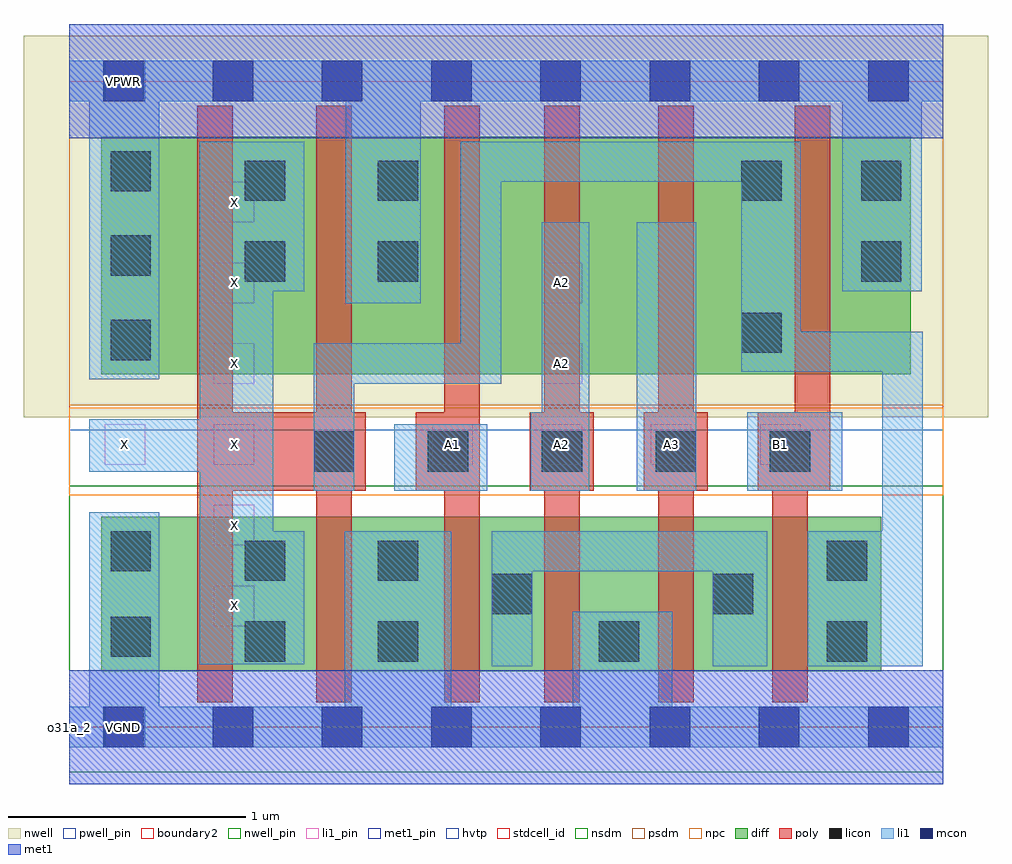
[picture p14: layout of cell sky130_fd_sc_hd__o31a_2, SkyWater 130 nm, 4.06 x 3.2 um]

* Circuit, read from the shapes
.subckt sky130_fd_sc_hd__o31a_2 A1 A2 A3 B1 VGND VNB VPB VPWR X
XM1 X n1 VGND VNB sky130_fd_pr__nfet_01v8 w=0.65 l=0.15 m=2
XM2 n2 A1 VGND VNB sky130_fd_pr__nfet_01v8 w=0.65 l=0.15
XM3 VGND A2 n2 VNB sky130_fd_pr__nfet_01v8 w=0.65 l=0.15
XM4 n2 A3 VGND VNB sky130_fd_pr__nfet_01v8 w=0.65 l=0.15
XM5 n1 B1 n2 VNB sky130_fd_pr__nfet_01v8 w=0.65 l=0.15
XM6 X n1 VPWR VPB sky130_fd_pr__pfet_01v8_hvt w=1 l=0.15 m=2
XM7 n3 A1 VPWR VPB sky130_fd_pr__pfet_01v8_hvt w=1 l=0.15
XM8 n4 A2 n3 VPB sky130_fd_pr__pfet_01v8_hvt w=1 l=0.15
XM9 n1 A3 n4 VPB sky130_fd_pr__pfet_01v8_hvt w=1 l=0.15
XM10 VPWR B1 n1 VPB sky130_fd_pr__pfet_01v8_hvt w=1 l=0.15
.ends

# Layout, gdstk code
import gdstk
lib = gdstk.Library(unit=1e-6, precision=1e-09)
def R(c, l, rs):  # rectangles x0, y0, x1, y1
    for r in rs: c.add(gdstk.rectangle(r[:2], r[2:], *l))
def A(c, l, x, y, w, h, nx, ny, dx, dy):  # array of equal rectangles
    R(c, l, [(x+i*dx, y+j*dy, x+i*dx+w, y+j*dy+h) for i in range(nx) for j in range(ny)])
def P(c, l, *ps):  # polygons
    for p in ps: c.add(gdstk.Polygon(p, *l))
nwell_pin = (64, 16)
nwell = (64, 20)
diff = (65, 20)
poly = (66, 20)
licon = (66, 44)
li1_pin = (67, 16)
li1 = (67, 20)
mcon = (67, 44)
met1_pin = (68, 16)
met1 = (68, 20)
hvtp = (78, 44)
stdcell_id = (81, 4)
nsdm = (93, 44)
psdm = (94, 20)
npc = (95, 20)
pwell_pin = (122, 16)
boundary2 = (236, 0)

sky130_fd_sc_hd__o31a_2 = lib.new_cell('sky130_fd_sc_hd__o31a_2')
R(sky130_fd_sc_hd__o31a_2, nwell_pin, [(0.15,2.635,0.32,2.805)])
R(sky130_fd_sc_hd__o31a_2, nwell, [(-0.19,1.305,3.87,2.91)])
R(sky130_fd_sc_hd__o31a_2, diff, [(0.135,0.235,3.42,0.885), (0.135,1.485,3.545,2.485)])
P(sky130_fd_sc_hd__o31a_2, poly, [(1.25,1.325),(1.19,1.325),(1.19,2.615),(1.04,2.615),(1.04,1.325),(0.69,1.325),(0.69,2.615),(0.54,2.615),(0.54,0.105),(0.69,0.105),(0.69,0.995),(1.04,0.995),(1.04,0.105),(1.19,0.105),(1.19,0.995),(1.25,0.995)],
  [(1.73,2.615),(1.58,2.615),(1.58,1.325),(1.46,1.325),(1.46,0.995),(1.58,0.995),(1.58,0.105),(1.73,0.105)],
  [(2.21,1.325),(2.15,1.325),(2.15,2.615),(2,2.615),(2,1.325),(1.94,1.325),(1.94,0.995),(2,0.995),(2,0.105),(2.15,0.105),(2.15,0.995),(2.21,0.995)],
  [(2.69,1.325),(2.63,1.325),(2.63,2.615),(2.48,2.615),(2.48,1.325),(2.42,1.325),(2.42,0.995),(2.48,0.995),(2.48,0.105),(2.63,0.105),(2.63,0.995),(2.69,0.995)],
  [(3.205,0.995),(3.205,2.615),(3.055,2.615),(3.055,1.325),(2.9,1.325),(2.9,0.995),(2.96,0.995),(2.96,0.105),(3.11,0.105),(3.11,0.995)])
A(sky130_fd_sc_hd__o31a_2, licon, 1.03, 1.075, 0.17, 0.17, 5, 1, 0.48, 0)
A(sky130_fd_sc_hd__o31a_2, licon, 0.175, 1.545, 0.17, 0.17, 1, 3, 0, 0.355)
R(sky130_fd_sc_hd__o31a_2, licon, [(0.74,0.275,0.91,0.445), (1.3,0.275,1.47,0.445), (2.23,0.275,2.4,0.445), (3.19,0.275,3.36,0.445), (0.175,0.295,0.345,0.465), (1.78,0.475,1.95,0.645), (2.71,0.475,2.88,0.645), (0.74,0.615,0.91,0.785), (1.3,0.615,1.47,0.785), (3.19,0.615,3.36,0.785), (0.175,0.655,0.345,0.825), (2.83,1.575,3,1.745), (0.74,1.875,0.91,2.045), (1.3,1.875,1.47,2.045), (3.335,1.875,3.505,2.045), (0.74,2.215,0.91,2.385), (1.3,2.215,1.47,2.385), (2.83,2.215,3,2.385), (3.335,2.215,3.505,2.385)])
A(sky130_fd_sc_hd__o31a_2, li1_pin, 0.61, 0.425, 0.17, 0.17, 1, 6, 0, 0.34)
A(sky130_fd_sc_hd__o31a_2, li1_pin, 1.53, 1.105, 0.17, 0.17, 4, 1, 0.46, 0)
R(sky130_fd_sc_hd__o31a_2, li1_pin, [(0.15,1.105,0.32,1.275), (1.99,1.445,2.16,1.615), (1.99,1.785,2.16,1.955)])
R(sky130_fd_sc_hd__o31a_2, li1, [(1.37,0.995,1.76,1.275), (2.39,0.995,2.64,2.125), (2.855,0.995,3.255,1.325)])
P(sky130_fd_sc_hd__o31a_2, li1, [(2.19,2.125),(1.99,2.125),(1.99,1.325),(1.945,1.325),(1.945,0.995),(2.19,0.995)],
  [(2.94,0.825),(1.78,0.825),(1.78,0.255),(1.95,0.255),(1.95,0.655),(2.71,0.655),(2.71,0.255),(2.94,0.255)],
  [(3.595,1.665),(3.08,1.665),(3.08,2.465),(1.65,2.465),(1.65,1.615),(1.03,1.615),(1.03,0.995),(1.2,0.995),(1.2,1.445),(1.82,1.445),(1.82,2.295),(2.83,2.295),(2.83,1.495),(3.425,1.495),(3.425,0.825),(3.11,0.825),(3.11,0.255),(3.595,0.255)],
  [(0.99,0.825),(0.86,0.825),(0.86,1.835),(0.99,1.835),(0.99,2.465),(0.55,2.465),(0.55,1.295),(0.085,1.295),(0.085,1.075),(0.55,1.075),(0.55,0.265),(0.99,0.265)],
  [(3.68,0.085),(2.54,0.085),(2.54,0.485),(2.12,0.485),(2.12,0.085),(1.61,0.085),(1.61,0.825),(1.16,0.825),(1.16,0.085),(0.38,0.085),(0.38,0.905),(0.085,0.905),(0.085,0.085),(0,0.085),(0,-0.085),(3.68,-0.085)],
  [(3.68,2.805),(0,2.805),(0,2.635),(0.085,2.635),(0.085,1.465),(0.38,1.465),(0.38,2.635),(1.165,2.635),(1.165,1.785),(1.48,1.785),(1.48,2.635),(3.255,2.635),(3.255,1.835),(3.59,1.835),(3.59,2.635),(3.68,2.635)])
A(sky130_fd_sc_hd__o31a_2, mcon, 0.145, -0.085, 0.17, 0.17, 8, 2, 0.46, 2.72)
R(sky130_fd_sc_hd__o31a_2, met1_pin, [(0.15,-0.085,0.32,0.085), (0.15,2.635,0.32,2.805)])
R(sky130_fd_sc_hd__o31a_2, hvtp, [(0,1.25,3.68,2.72)])
R(sky130_fd_sc_hd__o31a_2, stdcell_id, [(0,0,3.68,2.72)])
R(sky130_fd_sc_hd__o31a_2, nsdm, [(0,-0.19,3.68,1.015)])
R(sky130_fd_sc_hd__o31a_2, psdm, [(0,1.355,3.68,2.91)])
R(sky130_fd_sc_hd__o31a_2, npc, [(0,0.975,3.68,1.345)])
R(sky130_fd_sc_hd__o31a_2, pwell_pin, [(0.15,-0.085,0.32,0.085)])
R(sky130_fd_sc_hd__o31a_2, boundary2, [(0,0,3.68,2.72)])
sky130_fd_sc_hd__o31a_2.add(gdstk.FlexPath([(0,2.72),(3.68,2.72)], 0.48, ends="flush", simple_path=True, layer=68, datatype=20))  # met1
sky130_fd_sc_hd__o31a_2.add(gdstk.FlexPath([(0,0),(3.68,0)], 0.48, ends="flush", simple_path=True, layer=68, datatype=20))  # met1
sky130_fd_sc_hd__o31a_2.add(gdstk.Label('X', (0.695,2.21), layer=67, texttype=5))
sky130_fd_sc_hd__o31a_2.add(gdstk.Label('A1', (1.615,1.19), layer=67, texttype=5))
sky130_fd_sc_hd__o31a_2.add(gdstk.Label('X', (0.235,1.19), layer=67, texttype=5))
sky130_fd_sc_hd__o31a_2.add(gdstk.Label('X', (0.695,1.19), layer=67, texttype=5))
sky130_fd_sc_hd__o31a_2.add(gdstk.Label('A2', (2.075,1.19), layer=67, texttype=5))
sky130_fd_sc_hd__o31a_2.add(gdstk.Label('B1', (2.995,1.19), layer=67, texttype=5))
sky130_fd_sc_hd__o31a_2.add(gdstk.Label('A2', (2.075,1.53), layer=67, texttype=5))
sky130_fd_sc_hd__o31a_2.add(gdstk.Label('A2', (2.075,1.87), layer=67, texttype=5))
sky130_fd_sc_hd__o31a_2.add(gdstk.Label('X', (0.695,0.85), layer=67, texttype=5))
sky130_fd_sc_hd__o31a_2.add(gdstk.Label('X', (0.695,0.51), layer=67, texttype=5))
sky130_fd_sc_hd__o31a_2.add(gdstk.Label('X', (0.695,1.53), layer=67, texttype=5))
sky130_fd_sc_hd__o31a_2.add(gdstk.Label('X', (0.695,1.87), layer=67, texttype=5))
sky130_fd_sc_hd__o31a_2.add(gdstk.Label('A3', (2.535,1.19), layer=67, texttype=5))
sky130_fd_sc_hd__o31a_2.add(gdstk.Label('VGND', (0.23,0), layer=68, texttype=5))
sky130_fd_sc_hd__o31a_2.add(gdstk.Label('VPWR', (0.23,2.72), layer=68, texttype=5))
sky130_fd_sc_hd__o31a_2.add(gdstk.Label('VPB', (0.235,2.72), layer=64, texttype=5))
sky130_fd_sc_hd__o31a_2.add(gdstk.Label('VNB', (0.235,0), layer=64, texttype=59))
sky130_fd_sc_hd__o31a_2.add(gdstk.Label('o31a_2', (0,0), layer=83, texttype=44))

lib.write_gds('sky130_fd_sc_hd__o31a_2.gds')
